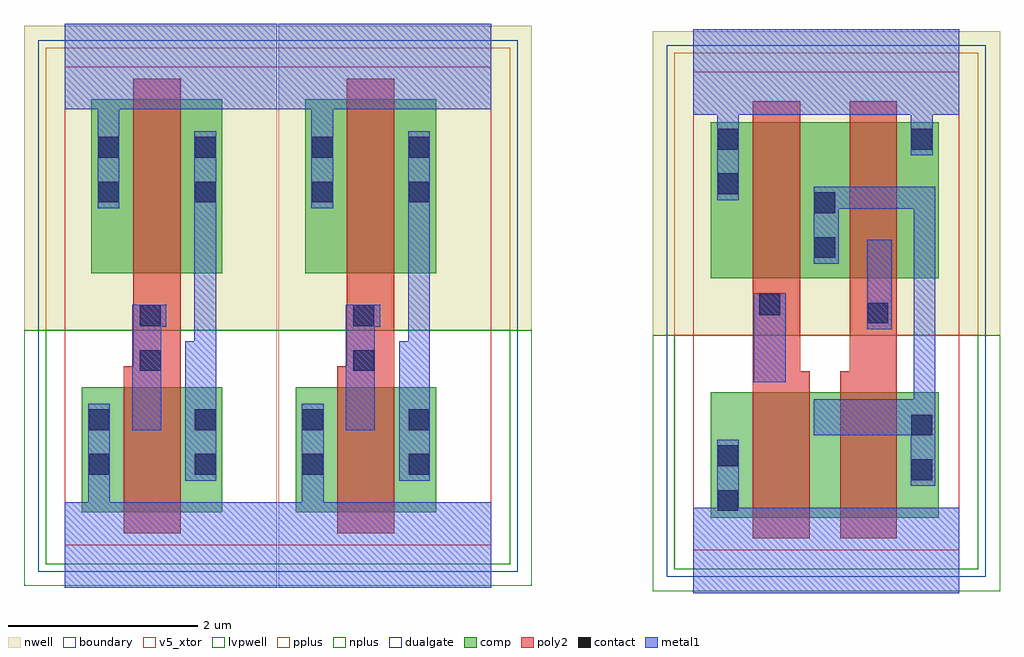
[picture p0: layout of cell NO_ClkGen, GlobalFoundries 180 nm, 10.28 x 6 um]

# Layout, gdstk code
import gdstk
lib = gdstk.Library(unit=1e-6, precision=1e-09)
def R(c, l, rs):  # rectangles x0, y0, x1, y1
    for r in rs: c.add(gdstk.rectangle(r[:2], r[2:], *l))
def P(c, l, *ps):  # polygons
    for p in ps: c.add(gdstk.Polygon(p, *l))
boundary = (0, 0)
nwell = (21, 0)
comp = (22, 0)
poly2 = (30, 0)
pplus = (31, 0)
nplus = (32, 0)
contact = (33, 0)
metal1 = (34, 0)
dualgate = (55, 0)
v5_xtor = (112, 1)
lvpwell = (204, 0)

gf180mcu_fd_sc_mcu9t5v0_ = lib.new_cell('gf180mcu_fd_sc_mcu9t5v0__nand2_1')
R(gf180mcu_fd_sc_mcu9t5v0_, boundary, [(0,0,2.8,5.04)])
R(gf180mcu_fd_sc_mcu9t5v0_, nwell, [(-0.43,2.265,3.23,5.47)])
R(gf180mcu_fd_sc_mcu9t5v0_, comp, [(0.185,0.345,2.585,1.665), (0.185,2.865,2.585,4.51)])
P(gf180mcu_fd_sc_mcu9t5v0_, poly2, [(0.625,0.125),(0.625,4.73),(1.125,4.73),(1.125,1.885),(1.225,1.885),(1.225,0.125)],
  [(1.545,0.125),(1.545,1.885),(1.645,1.885),(1.645,4.73),(2.145,4.73),(2.145,0.125)])
R(gf180mcu_fd_sc_mcu9t5v0_, pplus, [(-0.2,2.265,3,5.24)])
R(gf180mcu_fd_sc_mcu9t5v0_, nplus, [(-0.2,-0.2,3,2.265)])
R(gf180mcu_fd_sc_mcu9t5v0_, contact, [(0.255,0.415,0.475,0.635), (2.295,0.74,2.515,0.96), (0.255,0.885,0.475,1.105), (2.295,1.21,2.515,1.43), (1.835,2.39,2.055,2.61), (0.695,2.475,0.915,2.695), (1.275,3.08,1.495,3.3), (1.275,3.55,1.495,3.77), (0.255,3.75,0.475,3.97), (0.255,4.22,0.475,4.44), (2.295,4.22,2.515,4.44)])
R(gf180mcu_fd_sc_mcu9t5v0_, metal1, [(0.635,1.77,0.975,2.71), (1.83,2.33,2.09,3.27)])
P(gf180mcu_fd_sc_mcu9t5v0_, metal1, [(2.29,0.68),(2.29,1.21),(1.27,1.21),(1.27,1.59),(2.32,1.59),(2.32,3.6),(1.53,3.6),(1.53,3.02),(1.27,3.02),(1.27,3.83),(2.55,3.83),(2.55,0.68)],
  [(0,-0.45),(0,0.45),(0.25,0.45),(0.25,1.165),(0.48,1.165),(0.48,0.45),(2.8,0.45),(2.8,-0.45)],
  [(0.25,3.69),(0.25,4.59),(0,4.59),(0,5.49),(2.8,5.49),(2.8,4.59),(2.52,4.59),(2.52,4.16),(2.29,4.16),(2.29,4.59),(0.48,4.59),(0.48,3.69)])
R(gf180mcu_fd_sc_mcu9t5v0_, dualgate, [(-0.28,-0.28,3.08,5.32)])
R(gf180mcu_fd_sc_mcu9t5v0_, v5_xtor, [(0,0,2.8,5.04)])
R(gf180mcu_fd_sc_mcu9t5v0_, lvpwell, [(-0.43,-0.43,3.23,2.265)])
gf180mcu_fd_sc_mcu9t5v0_.add(gdstk.Label('& Vendor GLOBALFOUNDRIES', (0,2), layer=63, texttype=63))
gf180mcu_fd_sc_mcu9t5v0_.add(gdstk.Label('& Product GF018hv5v_green_sc9', (0,1.5), layer=63, texttype=63))
gf180mcu_fd_sc_mcu9t5v0_.add(gdstk.Label('& Version 2015q2v2', (0,1), layer=63, texttype=63))
gf180mcu_fd_sc_mcu9t5v0_.add(gdstk.Label('& Metric 1.00', (0,0.5), layer=63, texttype=63))
gf180mcu_fd_sc_mcu9t5v0_.add(gdstk.Label('VNW', (0.345,3.92), layer=21, texttype=10))
gf180mcu_fd_sc_mcu9t5v0_.add(gdstk.Label('VPW', (0.34,-0.085), layer=204, texttype=10))
gf180mcu_fd_sc_mcu9t5v0_.add(gdstk.Label('A1', (1.96,2.52), layer=34, texttype=10))
gf180mcu_fd_sc_mcu9t5v0_.add(gdstk.Label('A2', (0.84,1.96), layer=34, texttype=10))
gf180mcu_fd_sc_mcu9t5v0_.add(gdstk.Label('VDD', (1.4,5.49), layer=34, texttype=10))
gf180mcu_fd_sc_mcu9t5v0_.add(gdstk.Label('VSS', (1.4,-0.45), layer=34, texttype=10))
gf180mcu_fd_sc_mcu9t5v0_.add(gdstk.Label('ZN', (1.96,1.4), layer=34, texttype=10))

inv_1 = lib.new_cell('inv_1')
R(inv_1, boundary, [(19.04,15.025,21.28,20.065)])
R(inv_1, nwell, [(18.61,17.29,21.71,20.495)])
R(inv_1, comp, [(19.22,15.37,20.7,16.69), (19.32,17.89,20.7,19.72)])
P(inv_1, poly2, [(19.66,15.15),(19.66,16.91),(19.76,16.91),(19.76,19.94),(20.26,19.94),(20.26,15.15)])
R(inv_1, pplus, [(18.84,17.29,21.48,20.265)])
R(inv_1, nplus, [(18.84,14.825,21.48,17.29)])
R(inv_1, contact, [(19.29,15.765,19.51,15.985), (20.41,15.765,20.63,15.985), (19.29,16.235,19.51,16.455), (20.41,16.235,20.63,16.455), (19.83,16.86,20.05,17.08), (19.83,17.33,20.05,17.55), (19.39,18.635,19.61,18.855), (20.41,18.635,20.63,18.855), (19.39,19.105,19.61,19.325), (20.41,19.105,20.63,19.325)])
P(inv_1, metal1, [(19.75,16.235),(19.75,17.555),(20.11,17.555),(20.11,17.325),(20.055,17.325),(20.055,16.235)],
  [(20.31,15.705),(20.31,17.175),(20.405,17.175),(20.405,19.385),(20.635,19.385),(20.635,15.705)],
  [(19.04,14.575),(19.04,15.475),(19.285,15.475),(19.285,16.515),(19.515,16.515),(19.515,15.475),(21.28,15.475),(21.28,14.575)],
  [(19.385,18.575),(19.385,19.615),(19.04,19.615),(19.04,20.515),(21.28,20.515),(21.28,19.615),(19.615,19.615),(19.615,18.575)])
R(inv_1, dualgate, [(18.76,14.745,21.56,20.345)])
R(inv_1, v5_xtor, [(19.04,15.025,21.28,20.065)])
R(inv_1, lvpwell, [(18.61,14.595,21.71,17.29)])
inv_1.add(gdstk.Label('& Vendor GLOBALFOUNDRIES', (19.04,17.025), layer=63, texttype=63))
inv_1.add(gdstk.Label('& Product GF018hv5v_green_sc9', (19.04,16.525), layer=63, texttype=63))
inv_1.add(gdstk.Label('& Version 2015q2v2', (19.04,16.025), layer=63, texttype=63))
inv_1.add(gdstk.Label('& Metric 1.00', (19.04,15.525), layer=63, texttype=63))
inv_1.add(gdstk.Label('VNW', (19.385,18.945), layer=21, texttype=10))
inv_1.add(gdstk.Label('VPW', (19.38,14.94), layer=204, texttype=10))

no_clkgen = lib.new_cell('NO_ClkGen')
no_clkgen.add(gdstk.Reference(gf180mcu_fd_sc_mcu9t5v0_, (29.54,14.74)))
no_clkgen.add(gdstk.Reference(inv_1, (3.88,-0.23)))
no_clkgen.add(gdstk.Reference(inv_1, (6.13,-0.23)))

lib.write_gds('NO_ClkGen.gds')
